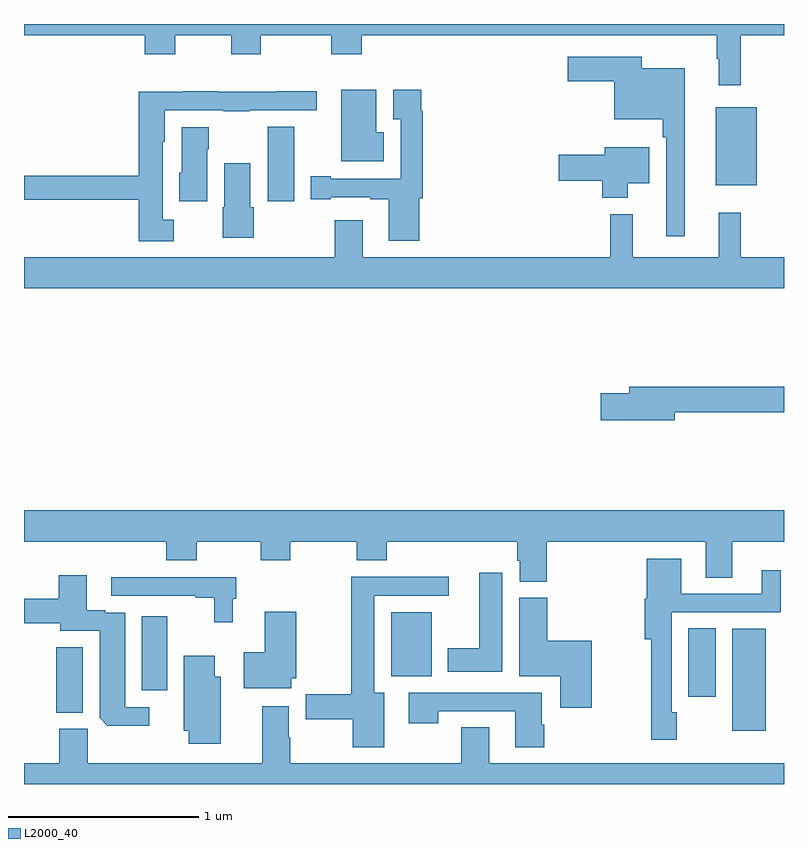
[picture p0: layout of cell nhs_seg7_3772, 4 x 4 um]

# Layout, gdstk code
import gdstk
lib = gdstk.Library(unit=1e-6, precision=1e-09)
def R(c, l, rs):  # rectangles x0, y0, x1, y1
    for r in rs: c.add(gdstk.rectangle(r[:2], r[2:], *l))
def P(c, l, *ps):  # polygons
    for p in ps: c.add(gdstk.Polygon(p, *l))
L2000_40 = (2000, 40)

nhs_seg7_3772 = lib.new_cell('nhs_seg7_3772')
R(nhs_seg7_3772, L2000_40, [(354.728,1006.28,354.904,1006.816), (351.17,1006.375,351.31,1006.721), (354.497,1006.458,354.64,1006.82), (351.62,1006.494,351.754,1006.882), (352.934,1006.568,353.146,1006.903), (354.641,1009.151,354.856,1009.561)])
P(nhs_seg7_3772, L2000_40, [(354.773,1009.94),(355,1009.94),(355,1010),(351,1010),(351,1009.94),(351.635,1009.94),(351.635,1009.841),(351.795,1009.841),(351.795,1009.94),(352.09,1009.94),(352.09,1009.841),(352.245,1009.841),(352.245,1009.94),(352.618,1009.94),(352.618,1009.841),(352.778,1009.841),(352.778,1009.94),(354.645,1009.94),(354.645,1009.817),(354.656,1009.817),(354.656,1009.677),(354.773,1009.677)],
  [(354.478,1009.768),(354.25,1009.768),(354.25,1009.828),(353.862,1009.828),(353.862,1009.699),(354.107,1009.699),(354.107,1009.499),(354.361,1009.499),(354.361,1009.403),(354.381,1009.403),(354.381,1008.882),(354.478,1008.882)],
  [(353.08,1009.082),(353.099,1009.082),(353.099,1009.541),(353.092,1009.541),(353.092,1009.654),(352.943,1009.654),(352.943,1009.498),(352.983,1009.498),(352.983,1009.185),(352.615,1009.185),(352.615,1009.198),(352.508,1009.198),(352.508,1009.077),(352.615,1009.077),(352.615,1009.089),(352.823,1009.089),(352.823,1009.077),(352.919,1009.077),(352.919,1008.858),(353.08,1008.858)],
  [(352.894,1009.43),(352.855,1009.43),(352.855,1009.654),(352.67,1009.654),(352.67,1009.277),(352.894,1009.277)],
  [(351.787,1008.97),(351.73,1008.97),(351.73,1009.38),(351.742,1009.38),(351.742,1009.545),(352.048,1009.545),(352.048,1009.54),(352.187,1009.54),(352.187,1009.545),(352.54,1009.545),(352.54,1009.646),(352.327,1009.646),(352.327,1009.643),(352.021,1009.643),(352.021,1009.646),(351.838,1009.646),(351.838,1009.643),(351.605,1009.643),(351.605,1009.202),(351,1009.202),(351,1009.074),(351.605,1009.074),(351.605,1008.857),(351.787,1008.857)],
  [(352.423,1009.46),(352.283,1009.46),(352.283,1009.18),(352.284,1009.18),(352.284,1009.068),(352.423,1009.068)],
  [(351.964,1009.34),(351.972,1009.34),(351.972,1009.456),(351.83,1009.456),(351.83,1009.218),(351.818,1009.218),(351.818,1009.068),(351.964,1009.068)],
  [(354.178,1009.163),(354.292,1009.163),(354.292,1009.351),(354.056,1009.351),(354.056,1009.311),(353.814,1009.311),(353.814,1009.174),(354.044,1009.174),(354.044,1009.085),(354.178,1009.085)],
  [(352.21,1009.035),(352.192,1009.035),(352.192,1009.267),(352.055,1009.267),(352.055,1009.035),(352.046,1009.035),(352.046,1008.875),(352.21,1008.875)],
  [(355,1008.772),(354.773,1008.772),(354.773,1009.006),(354.656,1009.006),(354.656,1008.772),(354.203,1008.772),(354.203,1009),(354.085,1009),(354.085,1008.772),(352.783,1008.772),(352.783,1008.967),(352.636,1008.967),(352.636,1008.772),(351,1008.772),(351,1008.608),(355,1008.608)],
  [(354.424,1007.956),(355,1007.956),(355,1008.092),(354.185,1008.092),(354.185,1008.056),(354.036,1008.056),(354.036,1007.914),(354.424,1007.914)],
  [(353.75,1007.276),(354.587,1007.276),(354.587,1007.086),(354.727,1007.086),(354.727,1007.276),(355,1007.276),(355,1007.44),(351,1007.44),(351,1007.276),(351.749,1007.276),(351.749,1007.177),(351.909,1007.177),(351.909,1007.276),(352.246,1007.276),(352.246,1007.177),(352.401,1007.177),(352.401,1007.276),(352.75,1007.276),(352.75,1007.177),(352.91,1007.177),(352.91,1007.276),(353.597,1007.276),(353.597,1007.175),(353.609,1007.175),(353.609,1007.065),(353.75,1007.065)],
  [(354.435,1006.377),(354.408,1006.377),(354.408,1006.905),(354.982,1006.905),(354.982,1007.125),(354.884,1007.125),(354.884,1007.001),(354.46,1007.001),(354.46,1007.185),(354.278,1007.185),(354.278,1006.974),(354.266,1006.974),(354.266,1006.763),(354.3,1006.763),(354.3,1006.233),(354.435,1006.233)],
  [(353.518,1007.113),(353.396,1007.113),(353.396,1006.714),(353.231,1006.714),(353.231,1006.592),(353.518,1006.592)],
  [(351.658,1006.404),(351.532,1006.404),(351.532,1006.902),(351.428,1006.902),(351.428,1006.915),(351.331,1006.915),(351.331,1007.098),(351.184,1007.098),(351.184,1006.975),(351,1006.975),(351,1006.846),(351.191,1006.846),(351.191,1006.806),(351.398,1006.806),(351.398,1006.348),(351.439,1006.307),(351.658,1006.307)],
  [(352.897,1006.48),(352.843,1006.48),(352.843,1006.992),(353.236,1006.992),(353.236,1007.09),(352.723,1007.09),(352.723,1006.473),(352.482,1006.473),(352.482,1006.34),(352.73,1006.34),(352.73,1006.194),(352.897,1006.194)],
  [(352.099,1006.974),(352.118,1006.974),(352.118,1007.088),(351.459,1007.088),(351.459,1006.992),(351.905,1006.992),(351.905,1006.98),(352,1006.98),(352,1006.851),(352.099,1006.851)],
  [(353.988,1006.753),(353.753,1006.753),(353.753,1006.98),(353.606,1006.98),(353.606,1006.568),(353.822,1006.568),(353.822,1006.401),(353.988,1006.401)],
  [(352.406,1006.557),(352.434,1006.557),(352.434,1006.906),(352.268,1006.906),(352.268,1006.693),(352.157,1006.693),(352.157,1006.503),(352.406,1006.503)],
  [(352.036,1006.564),(352.003,1006.564),(352.003,1006.675),(351.842,1006.675),(351.842,1006.28),(351.866,1006.28),(351.866,1006.212),(352.036,1006.212)],
  [(353.738,1006.313),(353.725,1006.313),(353.725,1006.479),(353.025,1006.479),(353.025,1006.32),(353.181,1006.32),(353.181,1006.383),(353.585,1006.383),(353.585,1006.194),(353.738,1006.194)],
  [(355,1006.108),(353.449,1006.108),(353.449,1006.298),(353.302,1006.298),(353.302,1006.108),(352.401,1006.108),(352.401,1006.244),(352.393,1006.244),(352.393,1006.408),(352.253,1006.408),(352.253,1006.108),(351.335,1006.108),(351.335,1006.29),(351.185,1006.29),(351.185,1006.108),(351,1006.108),(351,1006),(355,1006)])

lib.write_gds('nhs_seg7_3772.gds')
